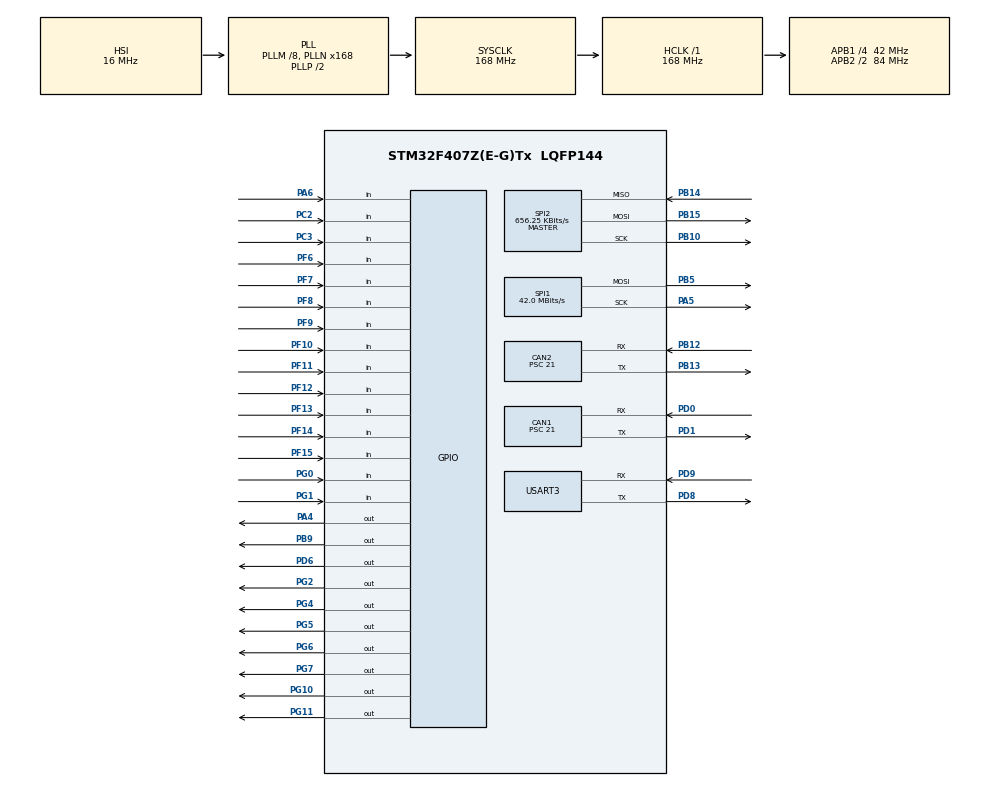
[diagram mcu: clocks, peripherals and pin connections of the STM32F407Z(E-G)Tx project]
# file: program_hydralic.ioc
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CAN1.BS2=CAN_BS2_2TQ
CAN1.CalculateBaudRate=500000
CAN1.CalculateTimeBit=2000
CAN1.CalculateTimeQuantum=500.0
CAN1.Mode=CAN_MODE_NORMAL
CAN1.Prescaler=21
CAN2.BS1=CAN_BS1_2TQ
CAN2.BS2=CAN_BS2_5TQ
CAN2.CalculateBaudRate=250000
CAN2.CalculateTimeBit=4000
CAN2.CalculateTimeQuantum=500.0
CAN2.Prescaler=21
FREERTOS.Tasks01=defaultTask,24,128,StartDefaultTask,Default,NULL,Dynamic,NULL,NULL;Task_Pump,25,128,StartTask_Pump,Default,NULL,Dynamic,NULL,NULL;Task_Motor,25,128,StartTask_Motor,Default,NULL,Dynamic,NULL,NULL
Mcu.Family=STM32F4
Mcu.Name=STM32F407Z(E-G)Tx
Mcu.Package=LQFP144
NVIC.CAN1_RX0_IRQn=true\:5\:0\:false\:false\:true\:true\:true\:true\:true
NVIC.CAN2_RX0_IRQn=true\:5\:0\:false\:false\:true\:true\:true\:true\:true
NVIC.PriorityGroup=NVIC_PRIORITYGROUP_4
PA13.Mode=Serial_Wire
PA13.Signal=SYS_JTMS-SWDIO
PA14.Mode=Serial_Wire
PA14.Signal=SYS_JTCK-SWCLK
PA3.Signal=ADCx_IN3
PA4.Signal=GPIO_Output
PA5.Mode=TX_Only_Simplex_Unidirect_Master
PA5.Signal=SPI1_SCK
PA6.Signal=GPIO_Input
PB10.Mode=Full_Duplex_Master
PB10.Signal=SPI2_SCK
PB12.Mode=CAN_Activate
PB12.Signal=CAN2_RX
PB13.Mode=CAN_Activate
PB13.Signal=CAN2_TX
PB14.Mode=Full_Duplex_Master
PB14.Signal=SPI2_MISO
PB15.Mode=Full_Duplex_Master
PB15.Signal=SPI2_MOSI
PB5.Mode=TX_Only_Simplex_Unidirect_Master
PB5.Signal=SPI1_MOSI
PB9.Signal=GPIO_Output
PC2.Signal=GPIO_Input
PC3.Signal=GPIO_Input
PD0.Mode=CAN_Activate
PD0.Signal=CAN1_RX
PD1.Mode=CAN_Activate
PD1.Signal=CAN1_TX
PD6.Signal=GPIO_Output
PD8.Mode=Asynchronous
PD8.Signal=USART3_TX
PD9.Mode=Asynchronous
PD9.Signal=USART3_RX
PF10.Signal=GPIO_Input
PF11.Signal=GPIO_Input
PF12.Signal=GPIO_Input
PF13.Signal=GPIO_Input
PF14.Signal=GPIO_Input
PF15.Signal=GPIO_Input
PF6.Signal=GPIO_Input
PF7.Signal=GPIO_Input
PF8.Signal=GPIO_Input
PF9.Signal=GPIO_Input
PG0.Signal=GPIO_Input
PG1.Signal=GPIO_Input
PG10.Signal=GPIO_Output
PG11.Signal=GPIO_Output
PG2.Signal=GPIO_Output
PG4.Signal=GPIO_Output
PG5.Signal=GPIO_Output
PG6.Signal=GPIO_Output
PG7.Signal=GPIO_Output
PH0-OSC_IN.Mode=HSE-External-Oscillator
PH0-OSC_IN.Signal=RCC_OSC_IN
PH1-OSC_OUT.Mode=HSE-External-Oscillator
PH1-OSC_OUT.Signal=RCC_OSC_OUT
ProjectManager.HeapSize=0x200
ProjectManager.StackSize=0x400
ProjectManager.TargetToolchain=STM32CubeIDE
RCC.48MHZClocksFreq_Value=84000000
RCC.AHBFreq_Value=168000000
RCC.APB1CLKDivider=RCC_HCLK_DIV4
RCC.APB1Freq_Value=42000000
RCC.APB1TimFreq_Value=84000000
RCC.APB2CLKDivider=RCC_HCLK_DIV2
RCC.APB2Freq_Value=84000000
RCC.APB2TimFreq_Value=168000000
RCC.CortexFreq_Value=168000000
RCC.HCLKFreq_Value=168000000
RCC.HSE_VALUE=25000000
RCC.HSI_VALUE=16000000
RCC.LSE_VALUE=32768
RCC.PLLM=8
RCC.PLLN=168
RCC.SYSCLKFreq_VALUE=168000000
RCC.SYSCLKSource=RCC_SYSCLKSOURCE_PLLCLK
RCC.VCOOutputFreq_Value=336000000
SH.ADCx_IN3.0=ADC1_IN3
SPI1.CalculateBaudRate=42.0 MBits/s
SPI1.Direction=SPI_DIRECTION_2LINES
SPI1.Mode=SPI_MODE_MASTER
SPI1.VirtualType=VM_MASTER
SPI2.BaudRatePrescaler=SPI_BAUDRATEPRESCALER_64
SPI2.CLKPhase=SPI_PHASE_2EDGE
SPI2.CLKPolarity=SPI_POLARITY_HIGH
SPI2.CalculateBaudRate=656.25 KBits/s
SPI2.Direction=SPI_DIRECTION_2LINES
SPI2.Mode=SPI_MODE_MASTER
SPI2.VirtualType=VM_MASTER
USART3.VirtualMode=VM_ASYNC
VP_FREERTOS_VS_CMSIS_V2.Mode=CMSIS_V2
board=custom

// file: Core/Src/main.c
/* USER CODE BEGIN Header */
/**
  ******************************************************************************
  * @file           : main.c
  * @brief          : Main program body
  ******************************************************************************
  * @attention
  *
  * Copyright (c) 2023 STMicroelectronics.
  * All rights reserved.
  *
  * This software is licensed under terms that can be found in the LICENSE file
  * in the root directory of this software component.
  * If no LICENSE file comes with this software, it is provided AS-IS.
  *
  ******************************************************************************
  */
/* USER CODE END Header */
#include "main.h"
#include "cmsis_os.h"

/* USER CODE BEGIN Includes */
#include "CanBus.h"
#include "MCP4922.h"
#include "hydraulic.h"
#include "MotorControl.h"
#include "MCP3202.h"
/* USER CODE END Includes */

/* USER CODE BEGIN PM */
#define MIN_ADC 0
#define MAX_ADC 1000
#define MAX_FLOAT 1.0f
#define AUTO_TIME 20000 // 20 giây (đơn vị: ms)
#define STOP_TIME 5000
#define TIME_FREE 20000
#define TIME_LIFT_PALLET 4000
#define TIME_LOWER_WHEEL 5000
#define TIME_DOWN_PALLET 2000
#define TIME_LIFT_WHEEL 2000
volatile uint8_t buttonPressCount = 0;
volatile bool modeLift = false;
volatile uint8_t autoStep = 0;
volatile uint8_t autoStep_motor = 0;
volatile uint32_t totalCycle = 0;
bool stepDone[4] = {false};
uint32_t lastDebounceTime = 0;
const uint32_t debounceDelay = 50;
volatile uint8_t lastButtonState = 0;
static bool mode = false;
static bool reset_motor = false;
uint64_t timer_hydarulic[2] = {0};
// Mảng global lưu trạng thái các GPIO
uint8_t gpioInputStates[5] = {0};  // 5 phần tử tương ứng với A6, F10, F7, F9, C2
int a;
uint16_t adc_speed;
static double target_speed = 0;
static bool forward_pressed=0;
static bool reverse_pressed=0;
static int dir = 0;
bool m_error = false;
#define OperationMode    0x3U
#define ControlWord_EN   0x0FU
#define ControlWord_DIS  0x06U
#define OperationModeRes 0x60600008U
#define ControlWordRes   0x60400010U
#define TargetSpeedRes   0x60FF0020U
#define ProfileAccRes    0x60830020U
#define ProfileDecRes    0x60840020U
#define ResetErrorsRes   0x20100210U
#define MNum 2
uint8_t TX_ENABLE[8]={0x2B, 0x40 ,0x60 ,0x00 ,0x0F ,0x00 ,0x00 ,0x00};
uint8_t TX_DISENABLE[8]={0x2B, 0x40 ,0x60 ,0x00 ,0x06 ,0x00 ,0x00 ,0x00};
//static char buffer_mes[12];
const struct HydraulicTableControl wheel_up_state     = {0, 0, 1, 1} ;
const struct HydraulicTableControl wheel_down_state   = {1, 0, 1, 1} ;
const struct HydraulicTableControl pallet_up_state    = {1, 1, 0, 1} ;
const struct HydraulicTableControl pallet_down_state  = {0, 1, 0, 1} ;
const struct HydraulicTableControl free_all_state     = {0, 0, 0, 0} ;

/* USER CODE END PM */

CAN_HandleTypeDef hcan1;
CAN_HandleTypeDef hcan2;

SPI_HandleTypeDef hspi1;
SPI_HandleTypeDef hspi2;

UART_HandleTypeDef huart3;

/* Definitions for defaultTask */
osThreadId_t defaultTaskHandle;
const osThreadAttr_t defaultTask_attributes = {
  .name = "defaultTask",
  .stack_size = 128 * 4,
  .priority = (osPriority_t) osPriorityNormal,
};
/* Definitions for Task_Pump */
osThreadId_t Task_PumpHandle;
const osThreadAttr_t Task_Pump_attributes = {
  .name = "Task_Pump",
  .stack_size = 128 * 4,
  .priority = (osPriority_t) osPriorityNormal1,
};
/* Definitions for Task_Motor */
osThreadId_t Task_MotorHandle;
const osThreadAttr_t Task_Motor_attributes = {
  .name = "Task_Motor",
  .stack_size = 128 * 4,
  .priority = (osPriority_t) osPriorityNormal1,
};

void SystemClock_Config(void);
static void MX_GPIO_Init(void);
static void MX_CAN1_Init(void);
static void MX_USART3_UART_Init(void);
static void MX_CAN2_Init(void);
static void MX_SPI1_Init(void);
static void MX_SPI2_Init(void);
void StartDefaultTask(void *argument);
void StartTask_Pump(void *argument);
void StartTask_Motor(void *argument);

/* USER CODE BEGIN 0 */

bool u_timer_expired(uint64_t *t, uint64_t prd, uint64_t now) {
  if (now + prd < *t) *t = 0;                    // Time wrapped? Reset timer
  if (*t == 0) *t = now + prd;                   // Firt poll? Set expiration
  if (*t > now) return false;                    // Not expired yet, return
  *t = (now - *t) > prd ? now + prd : *t + prd;  // Next expiration time
  return true;                                   // Expired, return true
}

void readGPIOInputs(void) {
    gpioInputStates[0] = HAL_GPIO_ReadPin(GPIOA, GPIO_PIN_6);
    gpioInputStates[1] = HAL_GPIO_ReadPin(GPIOF, GPIO_PIN_10);
    gpioInputStates[2] = HAL_GPIO_ReadPin(GPIOF, GPIO_PIN_7);
    gpioInputStates[3] = HAL_GPIO_ReadPin(GPIOF, GPIO_PIN_6);
    gpioInputStates[4] = HAL_GPIO_ReadPin(GPIOF, GPIO_PIN_8);
}
void manualMode(void) {
    modeLift = HAL_GPIO_ReadPin(GPIOC, GPIO_PIN_2) == GPIO_PIN_RESET ? true : false; // TRUE: bánh xe, FALSE: pallet

    bool liftPressed = HAL_GPIO_ReadPin(GPIOF, GPIO_PIN_7) == GPIO_PIN_RESET ? true : false;
    bool lowerPressed = HAL_GPIO_ReadPin(GPIOF, GPIO_PIN_9) == GPIO_PIN_RESET ? true : false;

    if (liftPressed) {
        buttonPressCount = 1;  // Nâng
    }
    else if (lowerPressed) {
        buttonPressCount = 3;  // Hạ
    }
    else {
        buttonPressCount = 0;  // Tắt thủy lực
    }
}

void autoMode()
{
  switch (autoStep)
  {
  case 0: // nâng pallet
    buttonPressCount = 1;
    modeLift = false;
    m_error = true;
    if (u_timer_expired(&timer_hydarulic[0], TIME_LIFT_PALLET, HAL_GetTick()))
    {
      stepDone[0] = true;
    }
    if (stepDone[0])
    {
      buttonPressCount = 0; // off thuỷ lực
      m_error = false;
      if (u_timer_expired(&timer_hydarulic[1], TIME_FREE, HAL_GetTick()))
      {
        stepDone[0] = false;
        memset(timer_hydarulic, 0, sizeof(timer_hydarulic));
        autoStep++;
      }
    }
    break;

  case 1: // hạ bánh xe
    buttonPressCount = 1;
    modeLift = true;
    m_error = true;
    if (u_timer_expired(&timer_hydarulic[0], TIME_LOWER_WHEEL, HAL_GetTick()))
    {
      stepDone[1] = true;
    }
    if (stepDone[1])
    {
      buttonPressCount = 0; // off thuỷ lực
      m_error = false;
      if (u_timer_expired(&timer_hydarulic[1], TIME_FREE, HAL_GetTick()))
      {
        stepDone[1] = false;
        memset(timer_hydarulic, 0, sizeof(timer_hydarulic));
        autoStep++;
      }
    }
    break;

  case 2: // hạ pallet
    buttonPressCount = 3;
    modeLift = false;
    m_error = true;
    if (u_timer_expired(&timer_hydarulic[0], TIME_DOWN_PALLET, HAL_GetTick()))
    {
      stepDone[2] = true;
    }
    if (stepDone[2])
    {
      buttonPressCount = 0; // off thuỷ lực
      m_error = false;
      if (u_timer_expired(&timer_hydarulic[1], TIME_FREE, HAL_GetTick()))
      {
        stepDone[2] = false;
        memset(timer_hydarulic, 0, sizeof(timer_hydarulic));
        autoStep++;
      }
    }
    break;

  case 3: // nâng bánh xe
    buttonPressCount = 3;
    modeLift = true;
    m_error = true;
    if (u_timer_expired(&timer_hydarulic[0], TIME_LIFT_WHEEL, HAL_GetTick()))
    {
      stepDone[3] = true;
    }
    if (stepDone[3])
    {
      buttonPressCount = 0; // off thuỷ lực
      m_error = false;
      if (u_timer_expired(&timer_hydarulic[1], TIME_FREE, HAL_GetTick()))
      {
        stepDone[3] = false;
        memset(timer_hydarulic, 0, sizeof(timer_hydarulic));
        autoStep = 0;
        totalCycle++;
      }
    }
    break;

  default:
    break;
  }
}

void performAction(int count, bool Mode) {
	switch (count) {
	case 1:
		if (Mode) {
			hydraulicSetState(wheel_down_state);
			// Thực hiện hành động hạ bánh xe
		} else {
			hydraulicSetState(pallet_up_state);
			// Thực hiện hành động nâng pallet
		}
		break;
	case 3:
		if (Mode) {
			hydraulicSetState(wheel_up_state);
			// Thực hiện hành động nâng bánh xe
		} else {
			hydraulicSetState(pallet_down_state);
			// Thực hiện hành động hạ pallet
		}
		break;
	default:
		hydraulicSetState(free_all_state);
		// Trạng thái tự do
		break;
	}
}
float map_adc_to_float(uint16_t adc) {
    if (adc < MIN_ADC) adc = MIN_ADC;
    if (adc > MAX_ADC) adc = MAX_ADC;
    return ((adc - MIN_ADC) / (float)(MAX_ADC - MIN_ADC)) * MAX_FLOAT;
}
// Định nghĩa các hàm con giúp quản lý chế độ và xử lý motor

// Hàm xử lý chế độ Manual
void HandleManualMode() {
    forward_pressed = (HAL_GPIO_ReadPin(GPIOF, GPIO_PIN_6) == GPIO_PIN_SET);
    reverse_pressed = (HAL_GPIO_ReadPin(GPIOF, GPIO_PIN_8) == GPIO_PIN_SET);

    if (forward_pressed && reverse_pressed) {
        dir = 0;
        target_speed = 0;
    } else if (forward_pressed) {
        dir = 1;
        target_speed = map_adc_to_float(adc_speed);
    } else if (reverse_pressed) {
        dir = 3;
        target_speed = map_adc_to_float(adc_speed);
    } else {
        dir = 0;
        target_speed = 0;
    }
}

// Hàm xử lý chế độ Auto
void HandleAutoMode() {
    static uint64_t auto_timer = 0;  // Bộ đếm thời gian
    static int auto_state = 0;        // Trạng thái: 0 = thuận, 1 = ngược, 2 = dừng

    // Kiểm tra thời gian đã hết hạn chưa
    if (u_timer_expired(&auto_timer, (auto_state == 2) ? STOP_TIME : AUTO_TIME, HAL_GetTick())) {
        // Xử lý hành động theo trạng thái hiện tại
        if (auto_state == 0) {
            dir = 1;  // Chạy thuận
        } else if (auto_state == 1) {
            dir = 3;  // Chạy ngược
        } else {
            dir = 0;  // Dừng
        }

        // Chuyển sang trạng thái tiếp theo (0 -> 1 -> 2 -> 0)
        auto_state = (auto_state + 1) % 3;
    }
}

// Hàm điều khiển động cơ
void ControlMotor(bool reset_motor, float adc_speed) {
    static int last_dir = -1;
    static float last_target_speed = -1;
    bool m_error = false;

    if (reset_motor == 0) {
        // Kiểm tra chế độ và xử lý
        if (mode == 0) {  // Chế độ Manual
            HandleManualMode();
        } else {  // Chế độ Auto
            HandleAutoMode();
        }

        // Cập nhật tốc độ mục tiêu và điều khiển động cơ nếu cần thiết
        target_speed = map_adc_to_float(adc_speed);

        if (dir != last_dir || target_speed != last_target_speed) {
            motorControl(true, m_error, dir, target_speed);
            last_dir = dir;
            last_target_speed = target_speed;
        }
    } else {
        // Tắt động cơ nếu cần
        if (last_dir != 0 || last_target_speed != 0) {
            NMTmanagement(0x1, MotorID[0]);
            motorControl(true, m_error, 0, 0);
            last_dir = 0;
            last_target_speed = 0;
        }
    }
}

//void canOpenCallBack() {
//	a++;
//	static uint32_t canId;
//	canId = canOpen.Can_rxHeader.StdId;
//	memcpy(buffer_mes, canOpen.Can_rxData, 8);
//	if ((canId >= 0x018A && canId <= 0x018E) || canId == 0x70A) {
//
//	} else {
//		CanRecieverCallback(); // hàm nhận dữ liệu của động cơ
//	}
//}

/* USER CODE END 0 */

int main(void)
{

  /* MCU Configuration--------------------------------------------------------*/

  /* Reset of all peripherals, Initializes the Flash interface and the Systick. */
  HAL_Init();

  /* Configure the system clock */
  SystemClock_Config();

  /* Initialize all configured peripherals */
  MX_GPIO_Init();
  MX_CAN1_Init();
  MX_USART3_UART_Init();
  MX_CAN2_Init();
  MX_SPI1_Init();
  MX_SPI2_Init();
  /* USER CODE BEGIN 2 */
  mcp4922.begin(&hspi1,GPIOA,GPIO_PIN_4);
  mcp3202.begin(&hspi2,GPIOB,GPIO_PIN_9);

//  Can_begin(&canOpen, &hcan2, 0);
//  CanCofigfilter(&canOpen, 0x11, 0x11);
//  canOpen.CanRxIT_Callback = &canOpenCallBack;
//  Can_Start(&canOpen, MotorID[0]);
  MotorInit(&hcan2);
  /* USER CODE END 2 */

  /* Init scheduler */
  osKernelInitialize();

  /* Create the thread(s) */
  /* creation of defaultTask */
  defaultTaskHandle = osThreadNew(StartDefaultTask, NULL, &defaultTask_attributes);

  /* creation of Task_Pump */
  Task_PumpHandle = osThreadNew(StartTask_Pump, NULL, &Task_Pump_attributes);

  /* creation of Task_Motor */
  Task_MotorHandle = osThreadNew(StartTask_Motor, NULL, &Task_Motor_attributes);

  /* Start scheduler */
  osKernelStart();

  /* We should never get here as control is now taken by the scheduler */

  /* Infinite loop */
  while (1)
  {

  }
}

void SystemClock_Config(void)
{
  RCC_OscInitTypeDef RCC_OscInitStruct = {0};
  RCC_ClkInitTypeDef RCC_ClkInitStruct = {0};

  /** Configure the main internal regulator output voltage
  */
  __HAL_RCC_PWR_CLK_ENABLE();
  __HAL_PWR_VOLTAGESCALING_CONFIG(PWR_REGULATOR_VOLTAGE_SCALE1);

  /** Initializes the RCC Oscillators according to the specified parameters
  * in the RCC_OscInitTypeDef structure.
  */
  RCC_OscInitStruct.OscillatorType = RCC_OSCILLATORTYPE_HSI;
  RCC_OscInitStruct.HSIState = RCC_HSI_ON;
  RCC_OscInitStruct.HSICalibrationValue = RCC_HSICALIBRATION_DEFAULT;
  RCC_OscInitStruct.PLL.PLLState = RCC_PLL_ON;
  RCC_OscInitStruct.PLL.PLLSource = RCC_PLLSOURCE_HSI;
  RCC_OscInitStruct.PLL.PLLM = 8;
  RCC_OscInitStruct.PLL.PLLN = 168;
  RCC_OscInitStruct.PLL.PLLP = RCC_PLLP_DIV2;
  RCC_OscInitStruct.PLL.PLLQ = 4;
  if (HAL_RCC_OscConfig(&RCC_OscInitStruct) != HAL_OK)
  {
    Error_Handler();
  }

  /** Initializes the CPU, AHB and APB buses clocks
  */
  RCC_ClkInitStruct.ClockType = RCC_CLOCKTYPE_HCLK|RCC_CLOCKTYPE_SYSCLK
                              |RCC_CLOCKTYPE_PCLK1|RCC_CLOCKTYPE_PCLK2;
  RCC_ClkInitStruct.SYSCLKSource = RCC_SYSCLKSOURCE_PLLCLK;
  RCC_ClkInitStruct.AHBCLKDivider = RCC_SYSCLK_DIV1;
  RCC_ClkInitStruct.APB1CLKDivider = RCC_HCLK_DIV4;
  RCC_ClkInitStruct.APB2CLKDivider = RCC_HCLK_DIV2;

  if (HAL_RCC_ClockConfig(&RCC_ClkInitStruct, FLASH_LATENCY_5) != HAL_OK)
  {
    Error_Handler();
  }
}

static void MX_CAN1_Init(void)
{

  hcan1.Instance = CAN1;
  hcan1.Init.Prescaler = 21;
  hcan1.Init.Mode = CAN_MODE_NORMAL;
  hcan1.Init.SyncJumpWidth = CAN_SJW_1TQ;
  hcan1.Init.TimeSeg1 = CAN_BS1_1TQ;
  hcan1.Init.TimeSeg2 = CAN_BS2_2TQ;
  hcan1.Init.TimeTriggeredMode = DISABLE;
  hcan1.Init.AutoBusOff = DISABLE;
  hcan1.Init.AutoWakeUp = DISABLE;
  hcan1.Init.AutoRetransmission = DISABLE;
  hcan1.Init.ReceiveFifoLocked = DISABLE;
  hcan1.Init.TransmitFifoPriority = DISABLE;
  if (HAL_CAN_Init(&hcan1) != HAL_OK)
  {
    Error_Handler();
  }
  /* USER CODE BEGIN CAN1_Init 2 */
 //CanCofigfilter(&CanUser1,FilterHigh, FilterLOw);

  /* USER CODE END CAN1_Init 2 */

}

static void MX_CAN2_Init(void)
{

  hcan2.Instance = CAN2;
  hcan2.Init.Prescaler = 21;
  hcan2.Init.Mode = CAN_MODE_NORMAL;
  hcan2.Init.SyncJumpWidth = CAN_SJW_1TQ;
  hcan2.Init.TimeSeg1 = CAN_BS1_2TQ;
  hcan2.Init.TimeSeg2 = CAN_BS2_5TQ;
  hcan2.Init.TimeTriggeredMode = DISABLE;
  hcan2.Init.AutoBusOff = DISABLE;
  hcan2.Init.AutoWakeUp = DISABLE;
  hcan2.Init.AutoRetransmission = DISABLE;
  hcan2.Init.ReceiveFifoLocked = DISABLE;
  hcan2.Init.TransmitFifoPriority = DISABLE;
  if (HAL_CAN_Init(&hcan2) != HAL_OK)
  {
    Error_Handler();
  }

}

static void MX_SPI1_Init(void)
{

  /* SPI1 parameter configuration*/
  hspi1.Instance = SPI1;
  hspi1.Init.Mode = SPI_MODE_MASTER;
  hspi1.Init.Direction = SPI_DIRECTION_2LINES;
  hspi1.Init.DataSize = SPI_DATASIZE_8BIT;
  hspi1.Init.CLKPolarity = SPI_POLARITY_LOW;
  hspi1.Init.CLKPhase = SPI_PHASE_1EDGE;
  hspi1.Init.NSS = SPI_NSS_SOFT;
  hspi1.Init.BaudRatePrescaler = SPI_BAUDRATEPRESCALER_2;
  hspi1.Init.FirstBit = SPI_FIRSTBIT_MSB;
  hspi1.Init.TIMode = SPI_TIMODE_DISABLE;
  hspi1.Init.CRCCalculation = SPI_CRCCALCULATION_DISABLE;
  hspi1.Init.CRCPolynomial = 10;
  if (HAL_SPI_Init(&hspi1) != HAL_OK)
  {
    Error_Handler();
  }

}

static void MX_SPI2_Init(void)
{

  /* SPI2 parameter configuration*/
  hspi2.Instance = SPI2;
  hspi2.Init.Mode = SPI_MODE_MASTER;
  hspi2.Init.Direction = SPI_DIRECTION_2LINES;
  hspi2.Init.DataSize = SPI_DATASIZE_8BIT;
  hspi2.Init.CLKPolarity = SPI_POLARITY_HIGH;
  hspi2.Init.CLKPhase = SPI_PHASE_2EDGE;
  hspi2.Init.NSS = SPI_NSS_SOFT;
  hspi2.Init.BaudRatePrescaler = SPI_BAUDRATEPRESCALER_64;
  hspi2.Init.FirstBit = SPI_FIRSTBIT_MSB;
  hspi2.Init.TIMode = SPI_TIMODE_DISABLE;
  hspi2.Init.CRCCalculation = SPI_CRCCALCULATION_DISABLE;
  hspi2.Init.CRCPolynomial = 10;
  if (HAL_SPI_Init(&hspi2) != HAL_OK)
  {
    Error_Handler();
  }

}

static void MX_USART3_UART_Init(void)
{

  huart3.Instance = USART3;
  huart3.Init.BaudRate = 115200;
  huart3.Init.WordLength = UART_WORDLENGTH_8B;
  huart3.Init.StopBits = UART_STOPBITS_1;
  huart3.Init.Parity = UART_PARITY_NONE;
  huart3.Init.Mode = UART_MODE_TX_RX;
  huart3.Init.HwFlowCtl = UART_HWCONTROL_NONE;
  huart3.Init.OverSampling = UART_OVERSAMPLING_16;
  if (HAL_UART_Init(&huart3) != HAL_OK)
  {
    Error_Handler();
  }

}

static void MX_GPIO_Init(void)
{
  GPIO_InitTypeDef GPIO_InitStruct = {0};

  /* GPIO Ports Clock Enable */
  __HAL_RCC_GPIOF_CLK_ENABLE();
  __HAL_RCC_GPIOH_CLK_ENABLE();
  __HAL_RCC_GPIOC_CLK_ENABLE();
  __HAL_RCC_GPIOA_CLK_ENABLE();
  __HAL_RCC_GPIOG_CLK_ENABLE();
  __HAL_RCC_GPIOB_CLK_ENABLE();
  __HAL_RCC_GPIOD_CLK_ENABLE();

  /*Configure GPIO pin Output Level */
  HAL_GPIO_WritePin(GPIOA, GPIO_PIN_4, GPIO_PIN_RESET);

  /*Configure GPIO pin Output Level */
  HAL_GPIO_WritePin(GPIOG, GPIO_PIN_4|GPIO_PIN_5|GPIO_PIN_6|GPIO_PIN_7
                          |GPIO_PIN_10|GPIO_PIN_11, GPIO_PIN_RESET);

  /*Configure GPIO pin Output Level */
  HAL_GPIO_WritePin(GPIOD, GPIO_PIN_6, GPIO_PIN_RESET);

  /*Configure GPIO pin Output Level */
  HAL_GPIO_WritePin(GPIOB, GPIO_PIN_9, GPIO_PIN_RESET);

  /*Configure GPIO pins : PF6 PF7 PF8 PF9
                           PF10 PF11 PF12 PF13
                           PF14 PF15 */
  GPIO_InitStruct.Pin = GPIO_PIN_6|GPIO_PIN_7|GPIO_PIN_8|GPIO_PIN_9
                          |GPIO_PIN_10|GPIO_PIN_11|GPIO_PIN_12|GPIO_PIN_13
                          |GPIO_PIN_14|GPIO_PIN_15;
  GPIO_InitStruct.Mode = GPIO_MODE_INPUT;
  GPIO_InitStruct.Pull = GPIO_NOPULL;
  HAL_GPIO_Init(GPIOF, &GPIO_InitStruct);

  /*Configure GPIO pins : PC2 PC3 */
  GPIO_InitStruct.Pin = GPIO_PIN_2|GPIO_PIN_3;
  GPIO_InitStruct.Mode = GPIO_MODE_INPUT;
  GPIO_InitStruct.Pull = GPIO_NOPULL;
  HAL_GPIO_Init(GPIOC, &GPIO_InitStruct);

  /*Configure GPIO pin : PA3 */
  GPIO_InitStruct.Pin = GPIO_PIN_3;
  GPIO_InitStruct.Mode = GPIO_MODE_ANALOG;
  GPIO_InitStruct.Pull = GPIO_NOPULL;
  HAL_GPIO_Init(GPIOA, &GPIO_InitStruct);

  /*Configure GPIO pin : PA4 */
  GPIO_InitStruct.Pin = GPIO_PIN_4;
  GPIO_InitStruct.Mode = GPIO_MODE_OUTPUT_PP;
  GPIO_InitStruct.Pull = GPIO_NOPULL;
  GPIO_InitStruct.Speed = GPIO_SPEED_FREQ_LOW;
  HAL_GPIO_Init(GPIOA, &GPIO_InitStruct);

  /*Configure GPIO pin : PA6 */
  GPIO_InitStruct.Pin = GPIO_PIN_6;
  GPIO_InitStruct.Mode = GPIO_MODE_INPUT;
  GPIO_InitStruct.Pull = GPIO_NOPULL;
  HAL_GPIO_Init(GPIOA, &GPIO_InitStruct);

  /*Configure GPIO pins : PG0 PG1 */
  GPIO_InitStruct.Pin = GPIO_PIN_0|GPIO_PIN_1;
  GPIO_InitStruct.Mode = GPIO_MODE_INPUT;
  GPIO_InitStruct.Pull = GPIO_NOPULL;
  HAL_GPIO_Init(GPIOG, &GPIO_InitStruct);

  /*Configure GPIO pins : PG4 PG5 PG6 PG7
                           PG10 PG11 */
  GPIO_InitStruct.Pin = GPIO_PIN_4|GPIO_PIN_5|GPIO_PIN_6|GPIO_PIN_7
                          |GPIO_PIN_10|GPIO_PIN_11;
  GPIO_InitStruct.Mode = GPIO_MODE_OUTPUT_PP;
  GPIO_InitStruct.Pull = GPIO_NOPULL;
  GPIO_InitStruct.Speed = GPIO_SPEED_FREQ_LOW;
  HAL_GPIO_Init(GPIOG, &GPIO_InitStruct);

  /*Configure GPIO pin : PD6 */
  GPIO_InitStruct.Pin = GPIO_PIN_6;
  GPIO_InitStruct.Mode = GPIO_MODE_OUTPUT_PP;
  GPIO_InitStruct.Pull = GPIO_NOPULL;
  GPIO_InitStruct.Speed = GPIO_SPEED_FREQ_LOW;
  HAL_GPIO_Init(GPIOD, &GPIO_InitStruct);

  /*Configure GPIO pin : PB9 */
  GPIO_InitStruct.Pin = GPIO_PIN_9;
  GPIO_InitStruct.Mode = GPIO_MODE_OUTPUT_PP;
  GPIO_InitStruct.Pull = GPIO_NOPULL;
  GPIO_InitStruct.Speed = GPIO_SPEED_FREQ_LOW;
  HAL_GPIO_Init(GPIOB, &GPIO_InitStruct);

}

void StartDefaultTask(void *argument)
{
  for(;;)
  {
    osDelay(1);
  }
}

void StartTask_Pump(void *argument)
{
  /* USER CODE BEGIN StartTask_Pump */
  /* Infinite loop */
  for (;;)
  {
	  readGPIOInputs();
      // Kiểm tra nút RESET (GPIOG_PIN_2)
      if (HAL_GPIO_ReadPin(GPIOA, GPIO_PIN_6) == GPIO_PIN_SET)
      {
    	 // motorErrorReset();
    	  NMTmanagement(0x2, MotorID[0]);
    	  HAL_GPIO_WritePin(GPIOG, GPIO_PIN_2, GPIO_PIN_RESET);
          hydraulicSetState(free_all_state); // Dừng mọi hoạt động
          // Reset tất cả
          buttonPressCount = 0;
          autoStep = 0;
          modeLift = false;
          memset(timer_hydarulic, 0, sizeof(timer_hydarulic));  // Reset timer
          memset(stepDone, 0, sizeof(stepDone));  // Reset cờ chạy auto
          continue;
      }

      mode = HAL_GPIO_ReadPin(GPIOF, GPIO_PIN_10) == GPIO_PIN_SET ? true : false;

      if (mode) {
          autoMode();
      } else {
          manualMode();
          memset(timer_hydarulic, 0, sizeof(timer_hydarulic));  // Reset timer chế độ auto
          memset(stepDone, 0, sizeof(stepDone));  // Reset cờ chạy auto
      }

      performAction(buttonPressCount, modeLift);
      osDelay(10);
  }
  /* USER CODE END StartTask_Pump */
}

void StartTask_Motor(void *argument) {
    /* USER CODE BEGIN StartTask_Motor */
	osDelay(5000);
	HAL_GPIO_WritePin(GPIOG, GPIO_PIN_2, GPIO_PIN_SET);
	// NMTmanagement(0x2, MotorID[0]);
	SetOperationMode(3, MotorID[0]);
	SDOProfileAcc(speedToRps(0.25), MotorID[0]);
	SDOProfileDec(speedToRps(0.3), MotorID[0]);
	SetControlWord(ControlWord_EN, MotorID[0]); // enable motor
	NMTmanagement(0x1, MotorID[0]);

    /* Infinite loop */
    for (;;) {
		reset_motor = HAL_GPIO_ReadPin(GPIOC, GPIO_PIN_3) == GPIO_PIN_RESET;

		adc_speed = mcp3202.readChannel(0);

		if (reset_motor == 0) {
			if (mode == 0) { // Chế độ Manual
				forward_pressed = (HAL_GPIO_ReadPin(GPIOF, GPIO_PIN_6)
						== GPIO_PIN_SET);
				reverse_pressed = (HAL_GPIO_ReadPin(GPIOF, GPIO_PIN_8)
						== GPIO_PIN_SET);
				if (forward_pressed && reverse_pressed) {
					dir = 0; // Tránh xung đột khi nhấn cả hai nút
					target_speed = 0;
				} else if (forward_pressed) {
					dir = 1;
					target_speed = map_adc_to_float(adc_speed);
				} else if (reverse_pressed) {
					dir = 3;
					target_speed = map_adc_to_float(adc_speed);
				} else {
					dir = 0;
					target_speed = 0;
				}

			} else {
				HandleAutoMode();
			}
			target_speed = map_adc_to_float(adc_speed);
			motorControl(true, m_error, dir, target_speed);
		} else {

			NMTmanagement(0x1, MotorID[0]);
			HAL_GPIO_WritePin(GPIOG, GPIO_PIN_2, GPIO_PIN_SET);
			motorControl(true, m_error, 0, 0);
		}
		osDelay(50);
    }
    /* USER CODE END StartTask_Motor */
}

void Error_Handler(void)
{
  __disable_irq();
  while (1)
  {
  }
}
